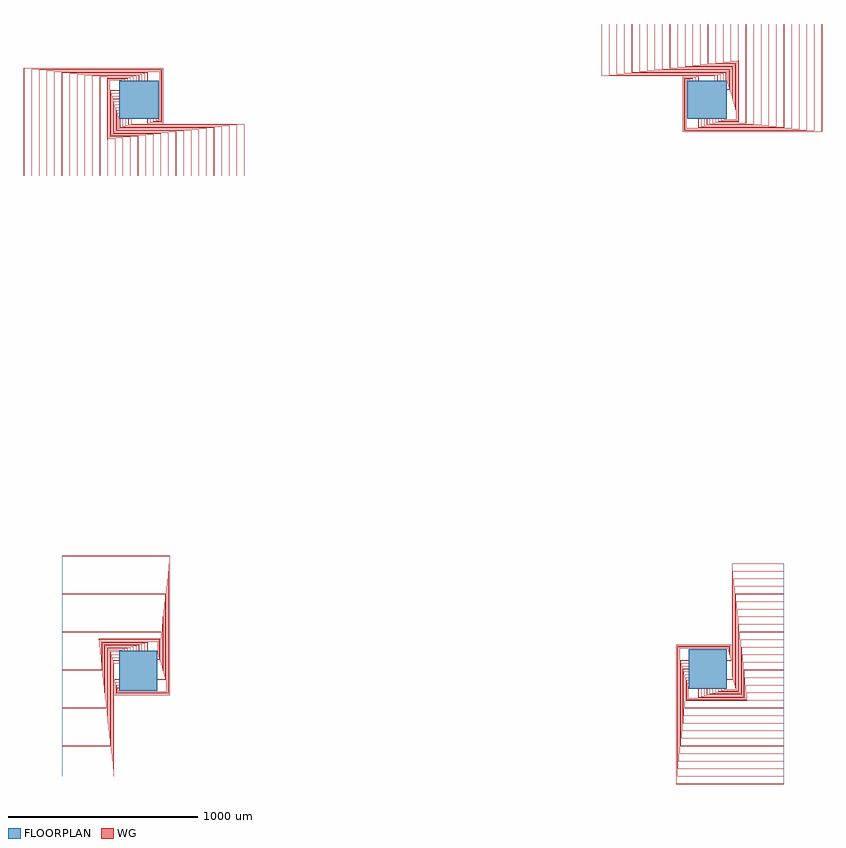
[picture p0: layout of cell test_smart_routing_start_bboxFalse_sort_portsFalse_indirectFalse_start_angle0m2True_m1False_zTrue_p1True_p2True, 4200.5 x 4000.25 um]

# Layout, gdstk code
import gdstk
lib = gdstk.Library(unit=1e-6, precision=1e-09)
def R(c, l, rs):  # rectangles x0, y0, x1, y1
    for r in rs: c.add(gdstk.rectangle(r[:2], r[2:], *l))
def P(c, l, *ps):  # polygons
    for p in ps: c.add(gdstk.Polygon(p, *l))
WG = (1, 0)
FLOORPLAN = (10, 0)

test_smart_routing_start = lib.new_cell('test_smart_routing_start_bboxFalse_sort_portsFalse_indirectFalse_start_angle0m2True_m1False_zTrue_p1True_p2True')
P(test_smart_routing_start, WG, [(2867.55,2832.8),(2867.55,3122.2),(2949.95,3122.2),(2949.95,3100),(2949.75,3100),(2949.75,3122),(2867.75,3122),(2867.75,2833),(3599.75,2833),(3599.75,3400),(3599.95,3400),(3599.95,2832.8)],
  [(2867.25,2832.5),(2867.25,3122.5),(2950.25,3122.5),(2950.25,3100),(2950.05,3100),(2950.05,3122.3),(2867.45,3122.3),(2867.45,2832.7),(3600.05,2832.7),(3600.05,3400),(3600.25,3400),(3600.25,2832.5)],
  [(2872.05,2837.3),(2872.05,3117.7),(2934.95,3117.7),(2934.95,3100),(2934.75,3100),(2934.75,3117.5),(2872.25,3117.5),(2872.25,2837.5),(3559.75,2837.5),(3559.75,3400),(3559.95,3400),(3559.95,2837.3)],
  [(2871.75,2837),(2871.75,3118),(2935.25,3118),(2935.25,3100),(2935.05,3100),(2935.05,3117.8),(2871.95,3117.8),(2871.95,2837.2),(3560.05,2837.2),(3560.05,3400),(3560.25,3400),(3560.25,2837)],
  [(2876.55,2841.8),(2876.55,3113.2),(2919.95,3113.2),(2919.95,3100),(2919.75,3100),(2919.75,3113),(2876.75,3113),(2876.75,2842),(3519.75,2842),(3519.75,3400),(3519.95,3400),(3519.95,2841.8)],
  [(2876.25,2841.5),(2876.25,3113.5),(2920.25,3113.5),(2920.25,3100),(2920.05,3100),(2920.05,3113.3),(2876.45,3113.3),(2876.45,2841.7),(3520.05,2841.7),(3520.05,3400),(3520.25,3400),(3520.25,2841.5)],
  [(2881.05,2846.3),(2881.05,3108.7),(2904.95,3108.7),(2904.95,3100),(2904.75,3100),(2904.75,3108.5),(2881.25,3108.5),(2881.25,2846.5),(3479.75,2846.5),(3479.75,3400),(3479.95,3400),(3479.95,2846.3)],
  [(2880.75,2846),(2880.75,3109),(2905.25,3109),(2905.25,3100),(2905.05,3100),(2905.05,3108.8),(2880.95,3108.8),(2880.95,2846.2),(3480.05,2846.2),(3480.05,3400),(3480.25,3400),(3480.25,2846)],
  [(2885.55,2850.8),(2885.55,3104.2),(2889.95,3104.2),(2889.95,3100),(2889.75,3100),(2889.75,3104),(2885.75,3104),(2885.75,2851),(3439.75,2851),(3439.75,3400),(3439.95,3400),(3439.95,2850.8)],
  [(2885.25,2850.5),(2885.25,3104.5),(2890.25,3104.5),(2890.25,3100),(2890.05,3100),(2890.05,3104.3),(2885.45,3104.3),(2885.45,2850.7),(3440.05,2850.7),(3440.05,3400),(3440.25,3400),(3440.25,2850.5)],
  [(2950.05,2855.3),(2950.05,2900),(2950.25,2900),(2950.25,2855.5),(3399.75,2855.5),(3399.75,3400),(3399.95,3400),(3399.95,2855.3)],
  [(2949.75,2855),(2949.75,2900),(2949.95,2900),(2949.95,2855.2),(3400.05,2855.2),(3400.05,3400),(3400.25,3400),(3400.25,2855)],
  [(2965.05,2859.8),(2965.05,2900),(2965.25,2900),(2965.25,2860),(3359.75,2860),(3359.75,3400),(3359.95,3400),(3359.95,2859.8)],
  [(2964.75,2859.5),(2964.75,2900),(2964.95,2900),(2964.95,2859.7),(3360.05,2859.7),(3360.05,3400),(3360.25,3400),(3360.25,2859.5)],
  [(2980.05,2864.3),(2980.05,2900),(2980.25,2900),(2980.25,2864.5),(3319.75,2864.5),(3319.75,3400),(3319.95,3400),(3319.95,2864.3)],
  [(2979.75,2864),(2979.75,2900),(2979.95,2900),(2979.95,2864.2),(3320.05,2864.2),(3320.05,3400),(3320.25,3400),(3320.25,2864)],
  [(2995.05,2868.8),(2995.05,2900),(2995.25,2900),(2995.25,2869),(3279.75,2869),(3279.75,3400),(3279.95,3400),(3279.95,2868.8)],
  [(2994.75,2868.5),(2994.75,2900),(2994.95,2900),(2994.95,2868.7),(3280.05,2868.7),(3280.05,3400),(3280.25,3400),(3280.25,2868.5)],
  [(3010.05,2873.3),(3010.05,2900),(3010.25,2900),(3010.25,2873.5),(3239.75,2873.5),(3239.75,3400),(3239.95,3400),(3239.95,2873.3)],
  [(3009.75,2873),(3009.75,2900),(3009.95,2900),(3009.95,2873.2),(3240.05,2873.2),(3240.05,3400),(3240.25,3400),(3240.25,2873)],
  [(3025.05,2877.8),(3025.05,2900),(3025.25,2900),(3025.25,2878),(3199.75,2878),(3199.75,3400),(3199.95,3400),(3199.95,2877.8)],
  [(3024.75,2877.5),(3024.75,2900),(3024.95,2900),(3024.95,2877.7),(3200.05,2877.7),(3200.05,3400),(3200.25,3400),(3200.25,2877.5)],
  [(3040.05,2882.3),(3040.05,2900),(3040.25,2900),(3040.25,2882.5),(3162.5,2882.5),(3162.5,3207.5),(3159.75,3207.5),(3159.75,3400),(3159.95,3400),(3159.95,3207.7),(3162.7,3207.7),(3162.7,2882.3)],
  [(3039.75,2882),(3039.75,2900),(3039.95,2900),(3039.95,2882.2),(3162.8,2882.2),(3162.8,3207.8),(3160.05,3207.8),(3160.05,3400),(3160.25,3400),(3160.25,3208),(3163,3208),(3163,2882)],
  [(3055.05,2886.8),(3055.05,2900),(3055.25,2900),(3055.25,2887),(3158,2887),(3158,3203),(3119.75,3203),(3119.75,3400),(3119.95,3400),(3119.95,3203.2),(3158.2,3203.2),(3158.2,2886.8)],
  [(3054.75,2886.5),(3054.75,2900),(3054.95,2900),(3054.95,2886.7),(3158.3,2886.7),(3158.3,3203.3),(3120.05,3203.3),(3120.05,3400),(3120.25,3400),(3120.25,3203.5),(3158.5,3203.5),(3158.5,2886.5)],
  [(3070.05,2891.3),(3070.05,2900),(3070.25,2900),(3070.25,2891.5),(3153.5,2891.5),(3153.5,3198.5),(3079.75,3198.5),(3079.75,3400),(3079.95,3400),(3079.95,3198.7),(3153.7,3198.7),(3153.7,2891.3)],
  [(3069.75,2891),(3069.75,2900),(3069.95,2900),(3069.95,2891.2),(3153.8,2891.2),(3153.8,3198.8),(3080.05,3198.8),(3080.05,3400),(3080.25,3400),(3080.25,3199),(3154,3199),(3154,2891)],
  [(3085.05,2895.8),(3085.05,2900),(3085.25,2900),(3085.25,2896),(3149,2896),(3149,3194),(3039.75,3194),(3039.75,3400),(3039.95,3400),(3039.95,3194.2),(3149.2,3194.2),(3149.2,2895.8)],
  [(3084.75,2895.5),(3084.75,2900),(3084.95,2900),(3084.95,2895.7),(3149.3,2895.7),(3149.3,3194.3),(3040.05,3194.3),(3040.05,3400),(3040.25,3400),(3040.25,3194.5),(3149.5,3194.5),(3149.5,2895.5)],
  [(3100,2950.05),(3100,2950.25),(3144.5,2950.25),(3144.5,3189.5),(2999.75,3189.5),(2999.75,3400),(2999.95,3400),(2999.95,3189.7),(3144.7,3189.7),(3144.7,2950.05)],
  [(3100,2949.75),(3100,2949.95),(3144.8,2949.95),(3144.8,3189.8),(3000.05,3189.8),(3000.05,3400),(3000.25,3400),(3000.25,3190),(3145,3190),(3145,2949.75)],
  [(3100,2965.05),(3100,2965.25),(3140,2965.25),(3140,3185),(2959.75,3185),(2959.75,3400),(2959.95,3400),(2959.95,3185.2),(3140.2,3185.2),(3140.2,2965.05)],
  [(3100,2964.75),(3100,2964.95),(3140.3,2964.95),(3140.3,3185.3),(2960.05,3185.3),(2960.05,3400),(2960.25,3400),(2960.25,3185.5),(3140.5,3185.5),(3140.5,2964.75)],
  [(3100,2980.05),(3100,2980.25),(3135.5,2980.25),(3135.5,3180.5),(2919.75,3180.5),(2919.75,3400),(2919.95,3400),(2919.95,3180.7),(3135.7,3180.7),(3135.7,2980.05)],
  [(3100,2979.75),(3100,2979.95),(3135.8,2979.95),(3135.8,3180.8),(2920.05,3180.8),(2920.05,3400),(2920.25,3400),(2920.25,3181),(3136,3181),(3136,2979.75)],
  [(3100,2995.05),(3100,2995.25),(3131,2995.25),(3131,3176),(2879.75,3176),(2879.75,3400),(2879.95,3400),(2879.95,3176.2),(3131.2,3176.2),(3131.2,2995.05)],
  [(3100,2994.75),(3100,2994.95),(3131.3,2994.95),(3131.3,3176.3),(2880.05,3176.3),(2880.05,3400),(2880.25,3400),(2880.25,3176.5),(3131.5,3176.5),(3131.5,2994.75)],
  [(3100,3010.05),(3100,3010.25),(3126.5,3010.25),(3126.5,3171.5),(2839.75,3171.5),(2839.75,3400),(2839.95,3400),(2839.95,3171.7),(3126.7,3171.7),(3126.7,3010.05)],
  [(3100,3009.75),(3100,3009.95),(3126.8,3009.95),(3126.8,3171.8),(2840.05,3171.8),(2840.05,3400),(2840.25,3400),(2840.25,3172),(3127,3172),(3127,3009.75)],
  [(3100,3025.05),(3100,3025.25),(3122,3025.25),(3122,3167),(2799.75,3167),(2799.75,3400),(2799.95,3400),(2799.95,3167.2),(3122.2,3167.2),(3122.2,3025.05)],
  [(3100,3024.75),(3100,3024.95),(3122.3,3024.95),(3122.3,3167.3),(2800.05,3167.3),(2800.05,3400),(2800.25,3400),(2800.25,3167.5),(3122.5,3167.5),(3122.5,3024.75)],
  [(3100,3040.05),(3100,3040.25),(3117.5,3040.25),(3117.5,3162.5),(2759.75,3162.5),(2759.75,3400),(2759.95,3400),(2759.95,3162.7),(3117.7,3162.7),(3117.7,3040.05)],
  [(3100,3039.75),(3100,3039.95),(3117.8,3039.95),(3117.8,3162.8),(2760.05,3162.8),(2760.05,3400),(2760.25,3400),(2760.25,3163),(3118,3163),(3118,3039.75)],
  [(3100,3055.05),(3100,3055.25),(3113,3055.25),(3113,3158),(2719.75,3158),(2719.75,3400),(2719.95,3400),(2719.95,3158.2),(3113.2,3158.2),(3113.2,3055.05)],
  [(3100,3054.75),(3100,3054.95),(3113.3,3054.95),(3113.3,3158.3),(2720.05,3158.3),(2720.05,3400),(2720.25,3400),(2720.25,3158.5),(3113.5,3158.5),(3113.5,3054.75)],
  [(3100,3070.05),(3100,3070.25),(3108.5,3070.25),(3108.5,3153.5),(2679.75,3153.5),(2679.75,3400),(2679.95,3400),(2679.95,3153.7),(3108.7,3153.7),(3108.7,3070.05)],
  [(3100,3069.75),(3100,3069.95),(3108.8,3069.95),(3108.8,3153.8),(2680.05,3153.8),(2680.05,3400),(2680.25,3400),(2680.25,3154),(3109,3154),(3109,3069.75)],
  [(3100,3085.05),(3100,3085.25),(3104,3085.25),(3104,3149),(2639.75,3149),(2639.75,3400),(2639.95,3400),(2639.95,3149.2),(3104.2,3149.2),(3104.2,3085.05)],
  [(3100,3084.75),(3100,3084.95),(3104.3,3084.95),(3104.3,3149.3),(2640.05,3149.3),(2640.05,3400),(2640.25,3400),(2640.25,3149.5),(3104.5,3149.5),(3104.5,3084.75)],
  [(3034.75,3100),(3034.75,3126.5),(2439.75,3126.5),(2439.75,3400),(2439.95,3400),(2439.95,3126.7),(3034.95,3126.7),(3034.95,3100)],
  [(3035.05,3100),(3035.05,3126.8),(2440.05,3126.8),(2440.05,3400),(2440.25,3400),(2440.25,3127),(3035.25,3127),(3035.25,3100)],
  [(3049.75,3100),(3049.75,3131),(2479.75,3131),(2479.75,3400),(2479.95,3400),(2479.95,3131.2),(3049.95,3131.2),(3049.95,3100)],
  [(3050.05,3100),(3050.05,3131.3),(2480.05,3131.3),(2480.05,3400),(2480.25,3400),(2480.25,3131.5),(3050.25,3131.5),(3050.25,3100)],
  [(3064.75,3100),(3064.75,3135.5),(2519.75,3135.5),(2519.75,3400),(2519.95,3400),(2519.95,3135.7),(3064.95,3135.7),(3064.95,3100)],
  [(3065.05,3100),(3065.05,3135.8),(2520.05,3135.8),(2520.05,3400),(2520.25,3400),(2520.25,3136),(3065.25,3136),(3065.25,3100)],
  [(3079.75,3100),(3079.75,3140),(2559.75,3140),(2559.75,3400),(2559.95,3400),(2559.95,3140.2),(3079.95,3140.2),(3079.95,3100)],
  [(3080.05,3100),(3080.05,3140.3),(2560.05,3140.3),(2560.05,3400),(2560.25,3400),(2560.25,3140.5),(3080.25,3140.5),(3080.25,3100)],
  [(3094.75,3100),(3094.75,3144.5),(2599.75,3144.5),(2599.75,3400),(2599.95,3400),(2599.95,3144.7),(3094.95,3144.7),(3094.95,3100)],
  [(3095.05,3100),(3095.05,3144.8),(2600.05,3144.8),(2600.05,3400),(2600.25,3400),(2600.25,3145),(3095.25,3145),(3095.25,3100)],
  [(-599.95,2600),(-599.95,3167.2),(132.45,3167.2),(132.45,2877.8),(50.05,2877.8),(50.05,2900),(50.25,2900),(50.25,2878),(132.25,2878),(132.25,3167),(-599.75,3167),(-599.75,2600)],
  [(-600.25,2600),(-600.25,3167.5),(132.75,3167.5),(132.75,2877.5),(49.75,2877.5),(49.75,2900),(49.95,2900),(49.95,2877.7),(132.55,2877.7),(132.55,3167.3),(-600.05,3167.3),(-600.05,2600)],
  [(-559.95,2600),(-559.95,3162.7),(127.95,3162.7),(127.95,2882.3),(65.05,2882.3),(65.05,2900),(65.25,2900),(65.25,2882.5),(127.75,2882.5),(127.75,3162.5),(-559.75,3162.5),(-559.75,2600)],
  [(-560.25,2600),(-560.25,3163),(128.25,3163),(128.25,2882),(64.75,2882),(64.75,2900),(64.95,2900),(64.95,2882.2),(128.05,2882.2),(128.05,3162.8),(-560.05,3162.8),(-560.05,2600)],
  [(-519.95,2600),(-519.95,3158.2),(123.45,3158.2),(123.45,2886.8),(80.05,2886.8),(80.05,2900),(80.25,2900),(80.25,2887),(123.25,2887),(123.25,3158),(-519.75,3158),(-519.75,2600)],
  [(-520.25,2600),(-520.25,3158.5),(123.75,3158.5),(123.75,2886.5),(79.75,2886.5),(79.75,2900),(79.95,2900),(79.95,2886.7),(123.55,2886.7),(123.55,3158.3),(-520.05,3158.3),(-520.05,2600)],
  [(-479.95,2600),(-479.95,3153.7),(118.95,3153.7),(118.95,2891.3),(95.05,2891.3),(95.05,2900),(95.25,2900),(95.25,2891.5),(118.75,2891.5),(118.75,3153.5),(-479.75,3153.5),(-479.75,2600)],
  [(-480.25,2600),(-480.25,3154),(119.25,3154),(119.25,2891),(94.75,2891),(94.75,2900),(94.95,2900),(94.95,2891.2),(119.05,2891.2),(119.05,3153.8),(-480.05,3153.8),(-480.05,2600)],
  [(-439.95,2600),(-439.95,3149.2),(114.45,3149.2),(114.45,2895.8),(110.05,2895.8),(110.05,2900),(110.25,2900),(110.25,2896),(114.25,2896),(114.25,3149),(-439.75,3149),(-439.75,2600)],
  [(-440.25,2600),(-440.25,3149.5),(114.75,3149.5),(114.75,2895.5),(109.75,2895.5),(109.75,2900),(109.95,2900),(109.95,2895.7),(114.55,2895.7),(114.55,3149.3),(-440.05,3149.3),(-440.05,2600)],
  [(-399.95,2600),(-399.95,3144.7),(49.95,3144.7),(49.95,3100),(49.75,3100),(49.75,3144.5),(-399.75,3144.5),(-399.75,2600)],
  [(-400.25,2600),(-400.25,3145),(50.25,3145),(50.25,3100),(50.05,3100),(50.05,3144.8),(-400.05,3144.8),(-400.05,2600)],
  [(-359.95,2600),(-359.95,3140.2),(34.95,3140.2),(34.95,3100),(34.75,3100),(34.75,3140),(-359.75,3140),(-359.75,2600)],
  [(-360.25,2600),(-360.25,3140.5),(35.25,3140.5),(35.25,3100),(35.05,3100),(35.05,3140.3),(-360.05,3140.3),(-360.05,2600)],
  [(-319.95,2600),(-319.95,3135.7),(19.95,3135.7),(19.95,3100),(19.75,3100),(19.75,3135.5),(-319.75,3135.5),(-319.75,2600)],
  [(-320.25,2600),(-320.25,3136),(20.25,3136),(20.25,3100),(20.05,3100),(20.05,3135.8),(-320.05,3135.8),(-320.05,2600)],
  [(-279.95,2600),(-279.95,3131.2),(4.95,3131.2),(4.95,3100),(4.75,3100),(4.75,3131),(-279.75,3131),(-279.75,2600)],
  [(-280.25,2600),(-280.25,3131.5),(5.25,3131.5),(5.25,3100),(5.05,3100),(5.05,3131.3),(-280.05,3131.3),(-280.05,2600)],
  [(-239.95,2600),(-239.95,3126.7),(-10.05,3126.7),(-10.05,3100),(-10.25,3100),(-10.25,3126.5),(-239.75,3126.5),(-239.75,2600)],
  [(-240.25,2600),(-240.25,3127),(-9.75,3127),(-9.75,3100),(-9.95,3100),(-9.95,3126.8),(-240.05,3126.8),(-240.05,2600)],
  [(-199.95,2600),(-199.95,3122.2),(-25.05,3122.2),(-25.05,3100),(-25.25,3100),(-25.25,3122),(-199.75,3122),(-199.75,2600)],
  [(-200.25,2600),(-200.25,3122.5),(-24.75,3122.5),(-24.75,3100),(-24.95,3100),(-24.95,3122.3),(-200.05,3122.3),(-200.05,2600)],
  [(-159.95,2600),(-159.95,2792.3),(-162.7,2792.3),(-162.7,3117.7),(-40.05,3117.7),(-40.05,3100),(-40.25,3100),(-40.25,3117.5),(-162.5,3117.5),(-162.5,2792.5),(-159.75,2792.5),(-159.75,2600)],
  [(-160.25,2600),(-160.25,2792),(-163,2792),(-163,3118),(-39.75,3118),(-39.75,3100),(-39.95,3100),(-39.95,3117.8),(-162.8,3117.8),(-162.8,2792.2),(-160.05,2792.2),(-160.05,2600)],
  [(-119.95,2600),(-119.95,2796.8),(-158.2,2796.8),(-158.2,3113.2),(-55.05,3113.2),(-55.05,3100),(-55.25,3100),(-55.25,3113),(-158,3113),(-158,2797),(-119.75,2797),(-119.75,2600)],
  [(-120.25,2600),(-120.25,2796.5),(-158.5,2796.5),(-158.5,3113.5),(-54.75,3113.5),(-54.75,3100),(-54.95,3100),(-54.95,3113.3),(-158.3,3113.3),(-158.3,2796.7),(-120.05,2796.7),(-120.05,2600)],
  [(-79.95,2600),(-79.95,2801.3),(-153.7,2801.3),(-153.7,3108.7),(-70.05,3108.7),(-70.05,3100),(-70.25,3100),(-70.25,3108.5),(-153.5,3108.5),(-153.5,2801.5),(-79.75,2801.5),(-79.75,2600)],
  [(-80.25,2600),(-80.25,2801),(-154,2801),(-154,3109),(-69.75,3109),(-69.75,3100),(-69.95,3100),(-69.95,3108.8),(-153.8,3108.8),(-153.8,2801.2),(-80.05,2801.2),(-80.05,2600)],
  [(-39.95,2600),(-39.95,2805.8),(-149.2,2805.8),(-149.2,3104.2),(-85.05,3104.2),(-85.05,3100),(-85.25,3100),(-85.25,3104),(-149,3104),(-149,2806),(-39.75,2806),(-39.75,2600)],
  [(-40.25,2600),(-40.25,2805.5),(-149.5,2805.5),(-149.5,3104.5),(-84.75,3104.5),(-84.75,3100),(-84.95,3100),(-84.95,3104.3),(-149.3,3104.3),(-149.3,2805.7),(-40.05,2805.7),(-40.05,2600)],
  [(0.05,2600),(0.05,2810.3),(-144.7,2810.3),(-144.7,3049.95),(-100,3049.95),(-100,3049.75),(-144.5,3049.75),(-144.5,2810.5),(0.25,2810.5),(0.25,2600)],
  [(-0.25,2600),(-0.25,2810),(-145,2810),(-145,3050.25),(-100,3050.25),(-100,3050.05),(-144.8,3050.05),(-144.8,2810.2),(-0.05,2810.2),(-0.05,2600)],
  [(40.05,2600),(40.05,2814.8),(-140.2,2814.8),(-140.2,3034.95),(-100,3034.95),(-100,3034.75),(-140,3034.75),(-140,2815),(40.25,2815),(40.25,2600)],
  [(39.75,2600),(39.75,2814.5),(-140.5,2814.5),(-140.5,3035.25),(-100,3035.25),(-100,3035.05),(-140.3,3035.05),(-140.3,2814.7),(39.95,2814.7),(39.95,2600)],
  [(80.05,2600),(80.05,2819.3),(-135.7,2819.3),(-135.7,3019.95),(-100,3019.95),(-100,3019.75),(-135.5,3019.75),(-135.5,2819.5),(80.25,2819.5),(80.25,2600)],
  [(79.75,2600),(79.75,2819),(-136,2819),(-136,3020.25),(-100,3020.25),(-100,3020.05),(-135.8,3020.05),(-135.8,2819.2),(79.95,2819.2),(79.95,2600)],
  [(120.05,2600),(120.05,2823.8),(-131.2,2823.8),(-131.2,3004.95),(-100,3004.95),(-100,3004.75),(-131,3004.75),(-131,2824),(120.25,2824),(120.25,2600)],
  [(119.75,2600),(119.75,2823.5),(-131.5,2823.5),(-131.5,3005.25),(-100,3005.25),(-100,3005.05),(-131.3,3005.05),(-131.3,2823.7),(119.95,2823.7),(119.95,2600)],
  [(160.05,2600),(160.05,2828.3),(-126.7,2828.3),(-126.7,2989.95),(-100,2989.95),(-100,2989.75),(-126.5,2989.75),(-126.5,2828.5),(160.25,2828.5),(160.25,2600)],
  [(159.75,2600),(159.75,2828),(-127,2828),(-127,2990.25),(-100,2990.25),(-100,2990.05),(-126.8,2990.05),(-126.8,2828.2),(159.95,2828.2),(159.95,2600)],
  [(200.05,2600),(200.05,2832.8),(-122.2,2832.8),(-122.2,2974.95),(-100,2974.95),(-100,2974.75),(-122,2974.75),(-122,2833),(200.25,2833),(200.25,2600)],
  [(199.75,2600),(199.75,2832.5),(-122.5,2832.5),(-122.5,2975.25),(-100,2975.25),(-100,2975.05),(-122.3,2975.05),(-122.3,2832.7),(199.95,2832.7),(199.95,2600)],
  [(240.05,2600),(240.05,2837.3),(-117.7,2837.3),(-117.7,2959.95),(-100,2959.95),(-100,2959.75),(-117.5,2959.75),(-117.5,2837.5),(240.25,2837.5),(240.25,2600)],
  [(239.75,2600),(239.75,2837),(-118,2837),(-118,2960.25),(-100,2960.25),(-100,2960.05),(-117.8,2960.05),(-117.8,2837.2),(239.95,2837.2),(239.95,2600)],
  [(280.05,2600),(280.05,2841.8),(-113.2,2841.8),(-113.2,2944.95),(-100,2944.95),(-100,2944.75),(-113,2944.75),(-113,2842),(280.25,2842),(280.25,2600)],
  [(279.75,2600),(279.75,2841.5),(-113.5,2841.5),(-113.5,2945.25),(-100,2945.25),(-100,2945.05),(-113.3,2945.05),(-113.3,2841.7),(279.95,2841.7),(279.95,2600)],
  [(320.05,2600),(320.05,2846.3),(-108.7,2846.3),(-108.7,2929.95),(-100,2929.95),(-100,2929.75),(-108.5,2929.75),(-108.5,2846.5),(320.25,2846.5),(320.25,2600)],
  [(319.75,2600),(319.75,2846),(-109,2846),(-109,2930.25),(-100,2930.25),(-100,2930.05),(-108.8,2930.05),(-108.8,2846.2),(319.95,2846.2),(319.95,2600)],
  [(360.05,2600),(360.05,2850.8),(-104.2,2850.8),(-104.2,2914.95),(-100,2914.95),(-100,2914.75),(-104,2914.75),(-104,2851),(360.25,2851),(360.25,2600)],
  [(359.75,2600),(359.75,2850.5),(-104.5,2850.5),(-104.5,2915.25),(-100,2915.25),(-100,2915.05),(-104.3,2915.05),(-104.3,2850.7),(359.95,2850.7),(359.95,2600)],
  [(559.75,2600),(559.75,2873),(-35.25,2873),(-35.25,2900),(-35.05,2900),(-35.05,2873.2),(559.95,2873.2),(559.95,2600)],
  [(560.05,2600),(560.05,2873.3),(-34.95,2873.3),(-34.95,2900),(-34.75,2900),(-34.75,2873.5),(560.25,2873.5),(560.25,2600)],
  [(519.75,2600),(519.75,2868.5),(-50.25,2868.5),(-50.25,2900),(-50.05,2900),(-50.05,2868.7),(519.95,2868.7),(519.95,2600)],
  [(520.05,2600),(520.05,2868.8),(-49.95,2868.8),(-49.95,2900),(-49.75,2900),(-49.75,2869),(520.25,2869),(520.25,2600)],
  [(479.75,2600),(479.75,2864),(-65.25,2864),(-65.25,2900),(-65.05,2900),(-65.05,2864.2),(479.95,2864.2),(479.95,2600)],
  [(480.05,2600),(480.05,2864.3),(-64.95,2864.3),(-64.95,2900),(-64.75,2900),(-64.75,2864.5),(480.25,2864.5),(480.25,2600)],
  [(439.75,2600),(439.75,2859.5),(-80.25,2859.5),(-80.25,2900),(-80.05,2900),(-80.05,2859.7),(439.95,2859.7),(439.95,2600)],
  [(440.05,2600),(440.05,2859.8),(-79.95,2859.8),(-79.95,2900),(-79.75,2900),(-79.75,2860),(440.25,2860),(440.25,2600)],
  [(399.75,2600),(399.75,2855),(-95.25,2855),(-95.25,2900),(-95.05,2900),(-95.05,2855.2),(399.95,2855.2),(399.95,2600)],
  [(400.05,2600),(400.05,2855.3),(-94.95,2855.3),(-94.95,2900),(-94.75,2900),(-94.75,2855.5),(400.25,2855.5),(400.25,2600)],
  [(-122.2,-132.45),(-122.2,-50.05),(-100,-50.05),(-100,-50.25),(-122,-50.25),(-122,-132.25),(167,-132.25),(167,599.75),(-400,599.75),(-400,599.95),(167.2,599.95),(167.2,-132.45)],
  [(-122.5,-132.75),(-122.5,-49.75),(-100,-49.75),(-100,-49.95),(-122.3,-49.95),(-122.3,-132.55),(167.3,-132.55),(167.3,600.05),(-400,600.05),(-400,600.25),(167.5,600.25),(167.5,-132.75)],
  [(-117.7,-127.95),(-117.7,-65.05),(-100,-65.05),(-100,-65.25),(-117.5,-65.25),(-117.5,-127.75),(162.5,-127.75),(162.5,559.75),(-400,559.75),(-400,559.95),(162.7,559.95),(162.7,-127.95)],
  [(-118,-128.25),(-118,-64.75),(-100,-64.75),(-100,-64.95),(-117.8,-64.95),(-117.8,-128.05),(162.8,-128.05),(162.8,560.05),(-400,560.05),(-400,560.25),(163,560.25),(163,-128.25)],
  [(-113.2,-123.45),(-113.2,-80.05),(-100,-80.05),(-100,-80.25),(-113,-80.25),(-113,-123.25),(158,-123.25),(158,519.75),(-400,519.75),(-400,519.95),(158.2,519.95),(158.2,-123.45)],
  [(-113.5,-123.75),(-113.5,-79.75),(-100,-79.75),(-100,-79.95),(-113.3,-79.95),(-113.3,-123.55),(158.3,-123.55),(158.3,520.05),(-400,520.05),(-400,520.25),(158.5,520.25),(158.5,-123.75)],
  [(-108.7,-118.95),(-108.7,-95.05),(-100,-95.05),(-100,-95.25),(-108.5,-95.25),(-108.5,-118.75),(153.5,-118.75),(153.5,479.75),(-400,479.75),(-400,479.95),(153.7,479.95),(153.7,-118.95)],
  [(-109,-119.25),(-109,-94.75),(-100,-94.75),(-100,-94.95),(-108.8,-94.95),(-108.8,-119.05),(153.8,-119.05),(153.8,480.05),(-400,480.05),(-400,480.25),(154,480.25),(154,-119.25)],
  [(-104.2,-114.45),(-104.2,-110.05),(-100,-110.05),(-100,-110.25),(-104,-110.25),(-104,-114.25),(149,-114.25),(149,439.75),(-400,439.75),(-400,439.95),(149.2,439.95),(149.2,-114.45)],
  [(-104.5,-114.75),(-104.5,-109.75),(-100,-109.75),(-100,-109.95),(-104.3,-109.95),(-104.3,-114.55),(149.3,-114.55),(149.3,440.05),(-400,440.05),(-400,440.25),(149.5,440.25),(149.5,-114.75)],
  [(100,-49.95),(100,-49.75),(144.5,-49.75),(144.5,399.75),(-400,399.75),(-400,399.95),(144.7,399.95),(144.7,-49.95)],
  [(100,-50.25),(100,-50.05),(144.8,-50.05),(144.8,400.05),(-400,400.05),(-400,400.25),(145,400.25),(145,-50.25)],
  [(100,-34.95),(100,-34.75),(140,-34.75),(140,359.75),(-400,359.75),(-400,359.95),(140.2,359.95),(140.2,-34.95)],
  [(100,-35.25),(100,-35.05),(140.3,-35.05),(140.3,360.05),(-400,360.05),(-400,360.25),(140.5,360.25),(140.5,-35.25)],
  [(100,-19.95),(100,-19.75),(135.5,-19.75),(135.5,319.75),(-400,319.75),(-400,319.95),(135.7,319.95),(135.7,-19.95)],
  [(100,-20.25),(100,-20.05),(135.8,-20.05),(135.8,320.05),(-400,320.05),(-400,320.25),(136,320.25),(136,-20.25)],
  [(100,-4.95),(100,-4.75),(131,-4.75),(131,279.75),(-400,279.75),(-400,279.95),(131.2,279.95),(131.2,-4.95)],
  [(100,-5.25),(100,-5.05),(131.3,-5.05),(131.3,280.05),(-400,280.05),(-400,280.25),(131.5,280.25),(131.5,-5.25)],
  [(100,10.05),(100,10.25),(126.5,10.25),(126.5,239.75),(-400,239.75),(-400,239.95),(126.7,239.95),(126.7,10.05)],
  [(100,9.75),(100,9.95),(126.8,9.95),(126.8,240.05),(-400,240.05),(-400,240.25),(127,240.25),(127,9.75)],
  [(100,25.05),(100,25.25),(122,25.25),(122,199.75),(-400,199.75),(-400,199.95),(122.2,199.95),(122.2,25.05)],
  [(100,24.75),(100,24.95),(122.3,24.95),(122.3,200.05),(-400,200.05),(-400,200.25),(122.5,200.25),(122.5,24.75)],
  [(100,40.05),(100,40.25),(117.5,40.25),(117.5,162.5),(-207.5,162.5),(-207.5,159.75),(-400,159.75),(-400,159.95),(-207.7,159.95),(-207.7,162.7),(117.7,162.7),(117.7,40.05)],
  [(100,39.75),(100,39.95),(117.8,39.95),(117.8,162.8),(-207.8,162.8),(-207.8,160.05),(-400,160.05),(-400,160.25),(-208,160.25),(-208,163),(118,163),(118,39.75)],
  [(100,55.05),(100,55.25),(113,55.25),(113,158),(-203,158),(-203,119.75),(-400,119.75),(-400,119.95),(-203.2,119.95),(-203.2,158.2),(113.2,158.2),(113.2,55.05)],
  [(100,54.75),(100,54.95),(113.3,54.95),(113.3,158.3),(-203.3,158.3),(-203.3,120.05),(-400,120.05),(-400,120.25),(-203.5,120.25),(-203.5,158.5),(113.5,158.5),(113.5,54.75)],
  [(100,70.05),(100,70.25),(108.5,70.25),(108.5,153.5),(-198.5,153.5),(-198.5,79.75),(-400,79.75),(-400,79.95),(-198.7,79.95),(-198.7,153.7),(108.7,153.7),(108.7,70.05)],
  [(100,69.75),(100,69.95),(108.8,69.95),(108.8,153.8),(-198.8,153.8),(-198.8,80.05),(-400,80.05),(-400,80.25),(-199,80.25),(-199,154),(109,154),(109,69.75)],
  [(-400,39.75),(-400,39.95),(-194.2,39.95),(-194.2,149.2),(104.2,149.2),(104.2,85.05),(100,85.05),(100,85.25),(104,85.25),(104,149),(-194,149),(-194,39.75)],
  [(-400,40.05),(-400,40.25),(-194.5,40.25),(-194.5,149.5),(104.5,149.5),(104.5,84.75),(100,84.75),(100,84.95),(104.3,84.95),(104.3,149.3),(-194.3,149.3),(-194.3,40.05)],
  [(-400,-0.25),(-400,-0.05),(-189.7,-0.05),(-189.7,144.7),(49.95,144.7),(49.95,100),(49.75,100),(49.75,144.5),(-189.5,144.5),(-189.5,-0.25)],
  [(-400,0.05),(-400,0.25),(-190,0.25),(-190,145),(50.25,145),(50.25,100),(50.05,100),(50.05,144.8),(-189.8,144.8),(-189.8,0.05)],
  [(-400,-40.25),(-400,-40.05),(-185.2,-40.05),(-185.2,140.2),(34.95,140.2),(34.95,100),(34.75,100),(34.75,140),(-185,140),(-185,-40.25)],
  [(-400,-39.95),(-400,-39.75),(-185.5,-39.75),(-185.5,140.5),(35.25,140.5),(35.25,100),(35.05,100),(35.05,140.3),(-185.3,140.3),(-185.3,-39.95)],
  [(-400,-80.25),(-400,-80.05),(-180.7,-80.05),(-180.7,135.7),(19.95,135.7),(19.95,100),(19.75,100),(19.75,135.5),(-180.5,135.5),(-180.5,-80.25)],
  [(-400,-79.95),(-400,-79.75),(-181,-79.75),(-181,136),(20.25,136),(20.25,100),(20.05,100),(20.05,135.8),(-180.8,135.8),(-180.8,-79.95)],
  [(-400,-120.25),(-400,-120.05),(-176.2,-120.05),(-176.2,131.2),(4.95,131.2),(4.95,100),(4.75,100),(4.75,131),(-176,131),(-176,-120.25)],
  [(-400,-119.95),(-400,-119.75),(-176.5,-119.75),(-176.5,131.5),(5.25,131.5),(5.25,100),(5.05,100),(5.05,131.3),(-176.3,131.3),(-176.3,-119.95)],
  [(-400,-160.25),(-400,-160.05),(-171.7,-160.05),(-171.7,126.7),(-10.05,126.7),(-10.05,100),(-10.25,100),(-10.25,126.5),(-171.5,126.5),(-171.5,-160.25)],
  [(-400,-159.95),(-400,-159.75),(-172,-159.75),(-172,127),(-9.75,127),(-9.75,100),(-9.95,100),(-9.95,126.8),(-171.8,126.8),(-171.8,-159.95)],
  [(-400,-200.25),(-400,-200.05),(-167.2,-200.05),(-167.2,122.2),(-25.05,122.2),(-25.05,100),(-25.25,100),(-25.25,122),(-167,122),(-167,-200.25)],
  [(-400,-199.95),(-400,-199.75),(-167.5,-199.75),(-167.5,122.5),(-24.75,122.5),(-24.75,100),(-24.95,100),(-24.95,122.3),(-167.3,122.3),(-167.3,-199.95)],
  [(-400,-240.25),(-400,-240.05),(-162.7,-240.05),(-162.7,117.7),(-40.05,117.7),(-40.05,100),(-40.25,100),(-40.25,117.5),(-162.5,117.5),(-162.5,-240.25)],
  [(-400,-239.95),(-400,-239.75),(-163,-239.75),(-163,118),(-39.75,118),(-39.75,100),(-39.95,100),(-39.95,117.8),(-162.8,117.8),(-162.8,-239.95)],
  [(-400,-280.25),(-400,-280.05),(-158.2,-280.05),(-158.2,113.2),(-55.05,113.2),(-55.05,100),(-55.25,100),(-55.25,113),(-158,113),(-158,-280.25)],
  [(-400,-279.95),(-400,-279.75),(-158.5,-279.75),(-158.5,113.5),(-54.75,113.5),(-54.75,100),(-54.95,100),(-54.95,113.3),(-158.3,113.3),(-158.3,-279.95)],
  [(-400,-320.25),(-400,-320.05),(-153.7,-320.05),(-153.7,108.7),(-70.05,108.7),(-70.05,100),(-70.25,100),(-70.25,108.5),(-153.5,108.5),(-153.5,-320.25)],
  [(-400,-319.95),(-400,-319.75),(-154,-319.75),(-154,109),(-69.75,109),(-69.75,100),(-69.95,100),(-69.95,108.8),(-153.8,108.8),(-153.8,-319.95)],
  [(-400,-360.25),(-400,-360.05),(-149.2,-360.05),(-149.2,104.2),(-85.05,104.2),(-85.05,100),(-85.25,100),(-85.25,104),(-149,104),(-149,-360.25)],
  [(-400,-359.95),(-400,-359.75),(-149.5,-359.75),(-149.5,104.5),(-84.75,104.5),(-84.75,100),(-84.95,100),(-84.95,104.3),(-149.3,104.3),(-149.3,-359.95)],
  [(-400,-560.25),(-400,-560.05),(-126.7,-560.05),(-126.7,34.95),(-100,34.95),(-100,34.75),(-126.5,34.75),(-126.5,-560.25)],
  [(-400,-559.95),(-400,-559.75),(-127,-559.75),(-127,35.25),(-100,35.25),(-100,35.05),(-126.8,35.05),(-126.8,-559.95)],
  [(-400,-520.25),(-400,-520.05),(-131.2,-520.05),(-131.2,49.95),(-100,49.95),(-100,49.75),(-131,49.75),(-131,-520.25)],
  [(-400,-519.95),(-400,-519.75),(-131.5,-519.75),(-131.5,50.25),(-100,50.25),(-100,50.05),(-131.3,50.05),(-131.3,-519.95)],
  [(-400,-480.25),(-400,-480.05),(-135.7,-480.05),(-135.7,64.95),(-100,64.95),(-100,64.75),(-135.5,64.75),(-135.5,-480.25)],
  [(-400,-479.95),(-400,-479.75),(-136,-479.75),(-136,65.25),(-100,65.25),(-100,65.05),(-135.8,65.05),(-135.8,-479.95)],
  [(-400,-440.25),(-400,-440.05),(-140.2,-440.05),(-140.2,79.95),(-100,79.95),(-100,79.75),(-140,79.75),(-140,-440.25)],
  [(-400,-439.95),(-400,-439.75),(-140.5,-439.75),(-140.5,80.25),(-100,80.25),(-100,80.05),(-140.3,80.05),(-140.3,-439.95)],
  [(-400,-400.25),(-400,-400.05),(-144.7,-400.05),(-144.7,94.95),(-100,94.95),(-100,94.75),(-144.5,94.75),(-144.5,-400.25)],
  [(-400,-399.95),(-400,-399.75),(-145,-399.75),(-145,95.25),(-100,95.25),(-100,95.05),(-144.8,95.05),(-144.8,-399.95)],
  [(2832.8,-599.95),(2832.8,132.45),(3122.2,132.45),(3122.2,50.05),(3100,50.05),(3100,50.25),(3122,50.25),(3122,132.25),(2833,132.25),(2833,-599.75),(3400,-599.75),(3400,-599.95)],
  [(2832.5,-600.25),(2832.5,132.75),(3122.5,132.75),(3122.5,49.75),(3100,49.75),(3100,49.95),(3122.3,49.95),(3122.3,132.55),(2832.7,132.55),(2832.7,-600.05),(3400,-600.05),(3400,-600.25)],
  [(2837.3,-559.95),(2837.3,127.95),(3117.7,127.95),(3117.7,65.05),(3100,65.05),(3100,65.25),(3117.5,65.25),(3117.5,127.75),(2837.5,127.75),(2837.5,-559.75),(3400,-559.75),(3400,-559.95)],
  [(2837,-560.25),(2837,128.25),(3118,128.25),(3118,64.75),(3100,64.75),(3100,64.95),(3117.8,64.95),(3117.8,128.05),(2837.2,128.05),(2837.2,-560.05),(3400,-560.05),(3400,-560.25)],
  [(2841.8,-519.95),(2841.8,123.45),(3113.2,123.45),(3113.2,80.05),(3100,80.05),(3100,80.25),(3113,80.25),(3113,123.25),(2842,123.25),(2842,-519.75),(3400,-519.75),(3400,-519.95)],
  [(2841.5,-520.25),(2841.5,123.75),(3113.5,123.75),(3113.5,79.75),(3100,79.75),(3100,79.95),(3113.3,79.95),(3113.3,123.55),(2841.7,123.55),(2841.7,-520.05),(3400,-520.05),(3400,-520.25)],
  [(2846.3,-479.95),(2846.3,118.95),(3108.7,118.95),(3108.7,95.05),(3100,95.05),(3100,95.25),(3108.5,95.25),(3108.5,118.75),(2846.5,118.75),(2846.5,-479.75),(3400,-479.75),(3400,-479.95)],
  [(2846,-480.25),(2846,119.25),(3109,119.25),(3109,94.75),(3100,94.75),(3100,94.95),(3108.8,94.95),(3108.8,119.05),(2846.2,119.05),(2846.2,-480.05),(3400,-480.05),(3400,-480.25)],
  [(2850.8,-439.95),(2850.8,114.45),(3104.2,114.45),(3104.2,110.05),(3100,110.05),(3100,110.25),(3104,110.25),(3104,114.25),(2851,114.25),(2851,-439.75),(3400,-439.75),(3400,-439.95)],
  [(2850.5,-440.25),(2850.5,114.75),(3104.5,114.75),(3104.5,109.75),(3100,109.75),(3100,109.95),(3104.3,109.95),(3104.3,114.55),(2850.7,114.55),(2850.7,-440.05),(3400,-440.05),(3400,-440.25)],
  [(2855.3,-399.95),(2855.3,49.95),(2900,49.95),(2900,49.75),(2855.5,49.75),(2855.5,-399.75),(3400,-399.75),(3400,-399.95)],
  [(2855,-400.25),(2855,50.25),(2900,50.25),(2900,50.05),(2855.2,50.05),(2855.2,-400.05),(3400,-400.05),(3400,-400.25)],
  [(2859.8,-359.95),(2859.8,34.95),(2900,34.95),(2900,34.75),(2860,34.75),(2860,-359.75),(3400,-359.75),(3400,-359.95)],
  [(2859.5,-360.25),(2859.5,35.25),(2900,35.25),(2900,35.05),(2859.7,35.05),(2859.7,-360.05),(3400,-360.05),(3400,-360.25)],
  [(2864.3,-319.95),(2864.3,19.95),(2900,19.95),(2900,19.75),(2864.5,19.75),(2864.5,-319.75),(3400,-319.75),(3400,-319.95)],
  [(2864,-320.25),(2864,20.25),(2900,20.25),(2900,20.05),(2864.2,20.05),(2864.2,-320.05),(3400,-320.05),(3400,-320.25)],
  [(2868.8,-279.95),(2868.8,4.95),(2900,4.95),(2900,4.75),(2869,4.75),(2869,-279.75),(3400,-279.75),(3400,-279.95)],
  [(2868.5,-280.25),(2868.5,5.25),(2900,5.25),(2900,5.05),(2868.7,5.05),(2868.7,-280.05),(3400,-280.05),(3400,-280.25)],
  [(2873.3,-239.95),(2873.3,-10.05),(2900,-10.05),(2900,-10.25),(2873.5,-10.25),(2873.5,-239.75),(3400,-239.75),(3400,-239.95)],
  [(2873,-240.25),(2873,-9.75),(2900,-9.75),(2900,-9.95),(2873.2,-9.95),(2873.2,-240.05),(3400,-240.05),(3400,-240.25)],
  [(2877.8,-199.95),(2877.8,-25.05),(2900,-25.05),(2900,-25.25),(2878,-25.25),(2878,-199.75),(3400,-199.75),(3400,-199.95)],
  [(2877.5,-200.25),(2877.5,-24.75),(2900,-24.75),(2900,-24.95),(2877.7,-24.95),(2877.7,-200.05),(3400,-200.05),(3400,-200.25)],
  [(2882.3,-162.7),(2882.3,-40.05),(2900,-40.05),(2900,-40.25),(2882.5,-40.25),(2882.5,-162.5),(3207.5,-162.5),(3207.5,-159.75),(3400,-159.75),(3400,-159.95),(3207.7,-159.95),(3207.7,-162.7)],
  [(2882,-163),(2882,-39.75),(2900,-39.75),(2900,-39.95),(2882.2,-39.95),(2882.2,-162.8),(3207.8,-162.8),(3207.8,-160.05),(3400,-160.05),(3400,-160.25),(3208,-160.25),(3208,-163)],
  [(2886.8,-158.2),(2886.8,-55.05),(2900,-55.05),(2900,-55.25),(2887,-55.25),(2887,-158),(3203,-158),(3203,-119.75),(3400,-119.75),(3400,-119.95),(3203.2,-119.95),(3203.2,-158.2)],
  [(2886.5,-158.5),(2886.5,-54.75),(2900,-54.75),(2900,-54.95),(2886.7,-54.95),(2886.7,-158.3),(3203.3,-158.3),(3203.3,-120.05),(3400,-120.05),(3400,-120.25),(3203.5,-120.25),(3203.5,-158.5)],
  [(2891.3,-153.7),(2891.3,-70.05),(2900,-70.05),(2900,-70.25),(2891.5,-70.25),(2891.5,-153.5),(3198.5,-153.5),(3198.5,-79.75),(3400,-79.75),(3400,-79.95),(3198.7,-79.95),(3198.7,-153.7)],
  [(2891,-154),(2891,-69.75),(2900,-69.75),(2900,-69.95),(2891.2,-69.95),(2891.2,-153.8),(3198.8,-153.8),(3198.8,-80.05),(3400,-80.05),(3400,-80.25),(3199,-80.25),(3199,-154)],
  [(2895.5,-149.5),(2895.5,-84.75),(2900,-84.75),(2900,-84.95),(2895.7,-84.95),(2895.7,-149.3),(3194.3,-149.3),(3194.3,-40.05),(3400,-40.05),(3400,-40.25),(3194.5,-40.25),(3194.5,-149.5)],
  [(2895.8,-149.2),(2895.8,-85.05),(2900,-85.05),(2900,-85.25),(2896,-85.25),(2896,-149),(3194,-149),(3194,-39.75),(3400,-39.75),(3400,-39.95),(3194.2,-39.95),(3194.2,-149.2)],
  [(2949.75,-145),(2949.75,-100),(2949.95,-100),(2949.95,-144.8),(3189.8,-144.8),(3189.8,-0.05),(3400,-0.05),(3400,-0.25),(3190,-0.25),(3190,-145)],
  [(2950.05,-144.7),(2950.05,-100),(2950.25,-100),(2950.25,-144.5),(3189.5,-144.5),(3189.5,0.25),(3400,0.25),(3400,0.05),(3189.7,0.05),(3189.7,-144.7)],
  [(2964.75,-140.5),(2964.75,-100),(2964.95,-100),(2964.95,-140.3),(3185.3,-140.3),(3185.3,39.95),(3400,39.95),(3400,39.75),(3185.5,39.75),(3185.5,-140.5)],
  [(2965.05,-140.2),(2965.05,-100),(2965.25,-100),(2965.25,-140),(3185,-140),(3185,40.25),(3400,40.25),(3400,40.05),(3185.2,40.05),(3185.2,-140.2)],
  [(2979.75,-136),(2979.75,-100),(2979.95,-100),(2979.95,-135.8),(3180.8,-135.8),(3180.8,79.95),(3400,79.95),(3400,79.75),(3181,79.75),(3181,-136)],
  [(2980.05,-135.7),(2980.05,-100),(2980.25,-100),(2980.25,-135.5),(3180.5,-135.5),(3180.5,80.25),(3400,80.25),(3400,80.05),(3180.7,80.05),(3180.7,-135.7)],
  [(2994.75,-131.5),(2994.75,-100),(2994.95,-100),(2994.95,-131.3),(3176.3,-131.3),(3176.3,119.95),(3400,119.95),(3400,119.75),(3176.5,119.75),(3176.5,-131.5)],
  [(2995.05,-131.2),(2995.05,-100),(2995.25,-100),(2995.25,-131),(3176,-131),(3176,120.25),(3400,120.25),(3400,120.05),(3176.2,120.05),(3176.2,-131.2)],
  [(3009.75,-127),(3009.75,-100),(3009.95,-100),(3009.95,-126.8),(3171.8,-126.8),(3171.8,159.95),(3400,159.95),(3400,159.75),(3172,159.75),(3172,-127)],
  [(3010.05,-126.7),(3010.05,-100),(3010.25,-100),(3010.25,-126.5),(3171.5,-126.5),(3171.5,160.25),(3400,160.25),(3400,160.05),(3171.7,160.05),(3171.7,-126.7)],
  [(3024.75,-122.5),(3024.75,-100),(3024.95,-100),(3024.95,-122.3),(3167.3,-122.3),(3167.3,199.95),(3400,199.95),(3400,199.75),(3167.5,199.75),(3167.5,-122.5)],
  [(3025.05,-122.2),(3025.05,-100),(3025.25,-100),(3025.25,-122),(3167,-122),(3167,200.25),(3400,200.25),(3400,200.05),(3167.2,200.05),(3167.2,-122.2)],
  [(3039.75,-118),(3039.75,-100),(3039.95,-100),(3039.95,-117.8),(3162.8,-117.8),(3162.8,239.95),(3400,239.95),(3400,239.75),(3163,239.75),(3163,-118)],
  [(3040.05,-117.7),(3040.05,-100),(3040.25,-100),(3040.25,-117.5),(3162.5,-117.5),(3162.5,240.25),(3400,240.25),(3400,240.05),(3162.7,240.05),(3162.7,-117.7)],
  [(3054.75,-113.5),(3054.75,-100),(3054.95,-100),(3054.95,-113.3),(3158.3,-113.3),(3158.3,279.95),(3400,279.95),(3400,279.75),(3158.5,279.75),(3158.5,-113.5)],
  [(3055.05,-113.2),(3055.05,-100),(3055.25,-100),(3055.25,-113),(3158,-113),(3158,280.25),(3400,280.25),(3400,280.05),(3158.2,280.05),(3158.2,-113.2)],
  [(3069.75,-109),(3069.75,-100),(3069.95,-100),(3069.95,-108.8),(3153.8,-108.8),(3153.8,319.95),(3400,319.95),(3400,319.75),(3154,319.75),(3154,-109)],
  [(3070.05,-108.7),(3070.05,-100),(3070.25,-100),(3070.25,-108.5),(3153.5,-108.5),(3153.5,320.25),(3400,320.25),(3400,320.05),(3153.7,320.05),(3153.7,-108.7)],
  [(3084.75,-104.5),(3084.75,-100),(3084.95,-100),(3084.95,-104.3),(3149.3,-104.3),(3149.3,359.95),(3400,359.95),(3400,359.75),(3149.5,359.75),(3149.5,-104.5)],
  [(3085.05,-104.2),(3085.05,-100),(3085.25,-100),(3085.25,-104),(3149,-104),(3149,360.25),(3400,360.25),(3400,360.05),(3149.2,360.05),(3149.2,-104.2)],
  [(3100,-35.25),(3100,-35.05),(3126.8,-35.05),(3126.8,559.95),(3400,559.95),(3400,559.75),(3127,559.75),(3127,-35.25)],
  [(3100,-34.95),(3100,-34.75),(3126.5,-34.75),(3126.5,560.25),(3400,560.25),(3400,560.05),(3126.7,560.05),(3126.7,-34.95)],
  [(3100,-50.25),(3100,-50.05),(3131.3,-50.05),(3131.3,519.95),(3400,519.95),(3400,519.75),(3131.5,519.75),(3131.5,-50.25)],
  [(3100,-49.95),(3100,-49.75),(3131,-49.75),(3131,520.25),(3400,520.25),(3400,520.05),(3131.2,520.05),(3131.2,-49.95)],
  [(3100,-65.25),(3100,-65.05),(3135.8,-65.05),(3135.8,479.95),(3400,479.95),(3400,479.75),(3136,479.75),(3136,-65.25)],
  [(3100,-64.95),(3100,-64.75),(3135.5,-64.75),(3135.5,480.25),(3400,480.25),(3400,480.05),(3135.7,480.05),(3135.7,-64.95)],
  [(3100,-80.25),(3100,-80.05),(3140.3,-80.05),(3140.3,439.95),(3400,439.95),(3400,439.75),(3140.5,439.75),(3140.5,-80.25)],
  [(3100,-79.95),(3100,-79.75),(3140,-79.75),(3140,440.25),(3400,440.25),(3400,440.05),(3140.2,440.05),(3140.2,-79.95)],
  [(3100,-95.25),(3100,-95.05),(3144.8,-95.05),(3144.8,399.95),(3400,399.95),(3400,399.75),(3145,399.75),(3145,-95.25)],
  [(3100,-94.95),(3100,-94.75),(3144.5,-94.75),(3144.5,400.25),(3400,400.25),(3400,400.05),(3144.7,400.05),(3144.7,-94.95)])
R(test_smart_routing_start, FLOORPLAN, [(-100,-110,100,100), (2900,-100,3100,110), (-100,2900,110,3100), (2890,2900,3100,3100)])
P(test_smart_routing_start, FLOORPLAN, [(-400,-560),(-400,600),(-400,600),(-400,-560)],
  [(-600,2600),(-600,2600),(560,2600),(560,2600)],
  [(3400,-600),(3400,560),(3400,560),(3400,-600)],
  [(2440,3400),(2440,3400),(3600,3400),(3600,3400)])

lib.write_gds('test_smart_routing_start_bboxFalse_sort_portsFalse_indirectFalse_start_angle0m2True_m1False_zTrue_p1True_p2True.gds')
